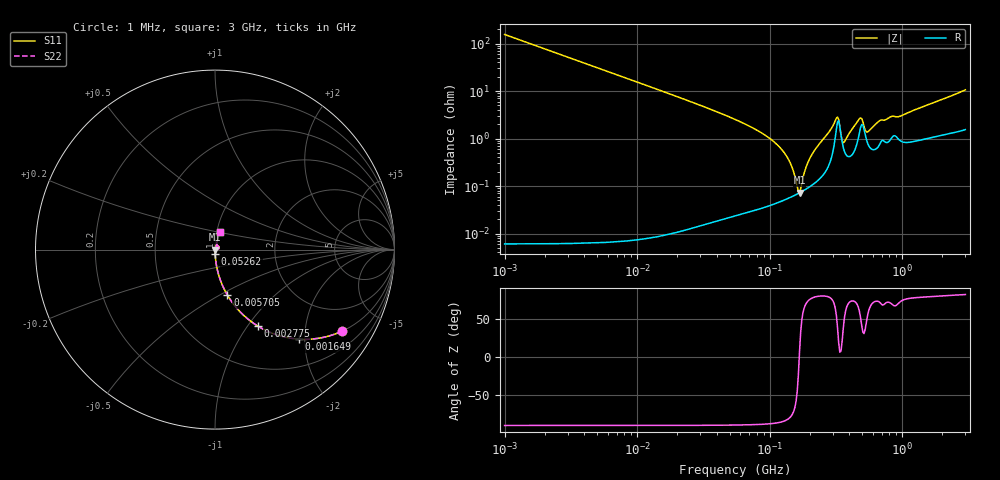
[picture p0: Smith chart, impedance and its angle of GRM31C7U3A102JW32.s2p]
!Murata Part Number: GRM31C7U3A102JW32
!These Parameters are Measured in Series Mode Connection
!Data Generated on Mar 30, 2021
!  o--ll--o
!Port1  Port2
!  o------o
!Operation Temp=25[degC], DC Bias Voltage=0[V]
!Freq. Start=1000[kHz] Stop=3[GHz] 401[Steps]
# Hz S RI R 50
!Freq.(Hz) S11(Real) S11(Imag) S21(Real) S21(Imag) S12(Real) S12(Imag) S22(Real) S22(Imag)
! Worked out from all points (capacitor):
!   401 points, 1 MHz to 3 GHz, reference 50 ohm
!   read as one part in series: C = 1.03 nF near 1.041 MHz
!   lowest |Z| = 72.5 mohm at 168 MHz (marker M1)
!   series resonance near 167.3 MHz, so ESL is about 880 pH
!   S11 on the Smith chart (normalised r, x): 1 MHz: 1.00, -3.10; 1.649 MHz: 1.00, -1.88; 2.775 MHz: 1.00, -1.12; 5.705 MHz: 1.00, -0.54; 52.62 MHz: 1.00, -0.05; 3 GHz: 1.03, +0.21
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1000000  0.7063 -0.4555  0.2937 0.4555  0.2937 0.4555  0.7063 -0.4555
1649378  0.4691 -0.499  0.5309 0.499  0.5309 0.499  0.4691 -0.499
2775447  0.2378 -0.4257  0.7622 0.4257  0.7622 0.4257  0.2378 -0.4257
3823119  0.1412 -0.3481  0.8588 0.3481  0.8588 0.3481  0.1412 -0.3481
5705239  0.0687 -0.2528  0.9313 0.2528  0.9313 0.2528  0.0687 -0.2528
1.461624e7  0.011 -0.1041  0.989 0.1041  0.989 0.1041  0.011 -0.1041
5.262293e7  0.000932 -0.0265  0.9991 0.0265  0.9991 0.0265  0.000932 -0.0265
5.477226e7  0.000873 -0.0253  0.9991 0.0253  0.9991 0.0253  0.000873 -0.0253
8.854986e7  0.000506 -0.0127  0.9995 0.0127  0.9995 0.0127  0.000506 -0.0127
1.195584e8  0.000506 -0.00646  0.9995 0.00646  0.9995 0.00646  0.000506 -0.00646
1.403209e8  0.000573 -0.00337  0.9994 0.00337  0.9994 0.00337  0.000573 -0.00337
1.614254e8  0.000679 -0.000695  0.9993 0.000695  0.9993 0.000695  0.000679 -0.000695
1.680187e8  0.00072 7.87e-05  0.9993 -7.87e-05  0.9993 -7.87e-05  0.00072 7.87e-05
1.894586e8  0.000879 0.00246  0.9991 -0.00246  0.9991 -0.00246  0.000879 0.00246
2.094008e8  0.00107 0.00458  0.9989 -0.00458  0.9989 -0.00458  0.00107 0.00458
3.188066e8  0.0158 0.021  0.9842 -0.021  0.9842 -0.021  0.0158 0.021
3.523638e8  0.00836 0.00307  0.9916 -0.00307  0.9916 -0.00307  0.00836 0.00307
3.667557e8  0.00537 0.00663  0.9946 -0.00663  0.9946 -0.00663  0.00537 0.00663
4.75755e8  0.0134 0.0219  0.9866 -0.0219  0.9866 -0.0219  0.0134 0.0219
5.473095e8  0.0082 0.0109  0.9918 -0.0109  0.9918 -0.0109  0.0082 0.0109
8.005644e8  0.00948 0.0258  0.9905 -0.0258  0.9905 -0.0258  0.00948 0.0258
3e9  0.0256 0.1007  0.9744 -0.1007  0.9744 -0.1007  0.0256 0.1007
